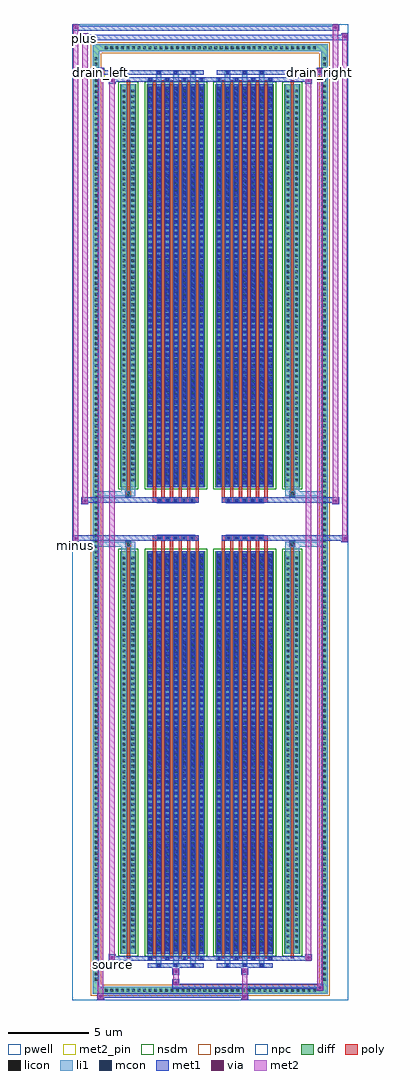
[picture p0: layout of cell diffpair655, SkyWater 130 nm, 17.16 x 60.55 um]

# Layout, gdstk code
import gdstk
lib = gdstk.Library(unit=1e-6, precision=5e-09)
def R(c, l, rs):  # rectangles x0, y0, x1, y1
    for r in rs: c.add(gdstk.rectangle(r[:2], r[2:], *l))
def A(c, l, x, y, w, h, nx, ny, dx, dy):  # array of equal rectangles
    R(c, l, [(x+i*dx, y+j*dy, x+i*dx+w, y+j*dy+h) for i in range(nx) for j in range(ny)])
def P(c, l, *ps):  # polygons
    for p in ps: c.add(gdstk.Polygon(p, *l))
pwell = (64, 44)
diff = (65, 20)
poly = (66, 20)
licon = (66, 44)
li1 = (67, 20)
mcon = (67, 44)
met1 = (68, 20)
via = (68, 44)
met2_pin = (69, 16)
met2 = (69, 20)
nsdm = (93, 44)
psdm = (94, 20)
npc = (95, 20)

diffpair655 = lib.new_cell('diffpair655')
R(diffpair655, pwell, [(-8.56,-29.84,8.56,30.71), (-5.88,-28.03,-0.01,-0.805), (0.01,-28.03,5.88,-0.805), (-5.88,0.805,-0.01,28.03), (0.01,0.805,5.88,28.03)])
A(diffpair655, diff, -6.665, -29.44, 0.41, 0.41, 39, 2, 0.34, 58.47)
A(diffpair655, diff, -7.29, -28.765, 0.41, 0.41, 1, 169, 0, 0.34)
A(diffpair655, diff, 6.88, -28.765, 0.41, 0.41, 1, 169, 0, 0.34)
R(diffpair655, diff, [(-6.665,-29.44,6.665,-29.03), (-7.29,-28.765,-6.88,28.765), (6.88,-28.765,7.29,28.765), (-5.57,-26.985,-4.59,-1.985), (-3.95,-26.985,-0.32,-1.985), (0.32,-26.985,3.95,-1.985), (4.59,-26.985,5.57,-1.985), (-5.57,1.985,-4.59,26.985), (-3.95,1.985,-0.32,26.985), (0.32,1.985,3.95,26.985), (4.59,1.985,5.57,26.985), (-6.665,29.03,6.665,29.44)])
P(diffpair655, diff, [(7.29,29.44),(-7.29,29.44),(-7.29,-29.03),(-6.88,-29.03),(-6.88,29.03),(6.88,29.03),(6.88,-29.03),(-6.88,-29.03),(-7.29,-29.03),(-7.29,-29.44),(7.29,-29.44)])
A(diffpair655, poly, -3.56, -27.235, 0.2, 25.5, 6, 2, 0.53, 28.97)
A(diffpair655, poly, 0.71, -27.235, 0.2, 25.5, 6, 2, 0.53, 28.97)
A(diffpair655, poly, -3.56, -1.735, 0.2, 0.4, 6, 2, 0.53, 3.07)
A(diffpair655, poly, 0.71, -1.735, 0.2, 0.4, 6, 2, 0.53, 3.07)
A(diffpair655, poly, -3.3, -1.335, 0.33, 0.33, 5, 2, 0.5, 2.34)
A(diffpair655, poly, 0.97, -1.335, 0.33, 0.33, 5, 2, 0.5, 2.34)
R(diffpair655, poly, [(-5.18,-27.235,-4.98,-1.735), (4.98,-27.235,5.18,-1.735), (-5.245,-1.735,-4.915,-1.405), (-5.245,-1.735,-4.915,-1.405), (4.915,-1.735,5.245,-1.405), (4.915,-1.735,5.245,-1.405), (-3.56,-1.335,-0.71,-1.005), (0.71,-1.335,3.56,-1.005), (-3.56,1.005,-0.71,1.335), (0.71,1.005,3.56,1.335), (-5.245,1.405,-4.915,1.735), (-5.245,1.405,-4.915,1.735), (4.915,1.405,5.245,1.735), (4.915,1.405,5.245,1.735), (-5.18,1.735,-4.98,27.235), (4.98,1.735,5.18,27.235)])
A(diffpair655, licon, -6.545, -29.32, 0.17, 0.17, 39, 2, 0.34, 58.47)
A(diffpair655, licon, -7.17, -28.645, 0.17, 0.17, 1, 169, 0, 0.34)
A(diffpair655, licon, 7, -28.645, 0.17, 0.17, 1, 169, 0, 0.34)
A(diffpair655, licon, -5.43, -26.64, 0.17, 0.17, 1, 72, 0, 0.34)
A(diffpair655, licon, -4.9, -26.64, 0.17, 0.17, 1, 72, 0, 0.34)
A(diffpair655, licon, -3.81, -26.64, 0.17, 0.17, 7, 72, 0.53, 0.34)
A(diffpair655, licon, 0.46, -26.64, 0.17, 0.17, 7, 72, 0.53, 0.34)
A(diffpair655, licon, 4.73, -26.64, 0.17, 0.17, 1, 72, 0, 0.34)
A(diffpair655, licon, 5.26, -26.64, 0.17, 0.17, 1, 72, 0, 0.34)
A(diffpair655, licon, -3.22, -1.255, 0.17, 0.17, 5, 2, 0.5, 2.34)
A(diffpair655, licon, 1.05, -1.255, 0.17, 0.17, 5, 2, 0.5, 2.34)
A(diffpair655, licon, -5.43, 2.33, 0.17, 0.17, 1, 72, 0, 0.34)
A(diffpair655, licon, -4.9, 2.33, 0.17, 0.17, 1, 72, 0, 0.34)
A(diffpair655, licon, -3.81, 2.33, 0.17, 0.17, 7, 72, 0.53, 0.34)
A(diffpair655, licon, 0.46, 2.33, 0.17, 0.17, 7, 72, 0.53, 0.34)
A(diffpair655, licon, 4.73, 2.33, 0.17, 0.17, 1, 72, 0, 0.34)
A(diffpair655, licon, 5.26, 2.33, 0.17, 0.17, 1, 72, 0, 0.34)
R(diffpair655, licon, [(-5.165,-1.655,-4.995,-1.485), (4.995,-1.655,5.165,-1.485), (-5.165,1.485,-4.995,1.655), (4.995,1.485,5.165,1.655)])
A(diffpair655, li1, -6.625, -29.4, 0.33, 0.33, 39, 2, 0.34, 58.47)
A(diffpair655, li1, -7.25, -28.725, 0.33, 0.33, 1, 169, 0, 0.34)
A(diffpair655, li1, 6.92, -28.725, 0.33, 0.33, 1, 169, 0, 0.34)
A(diffpair655, li1, -3.36, -27.79, 0.33, 0.805, 3, 2, 1.06, 54.775)
A(diffpair655, li1, -3.28, -27.79, 0.17, 0.17, 3, 2, 1.06, 55.41)
A(diffpair655, li1, 0.91, -27.79, 0.33, 0.805, 3, 2, 1.06, 54.775)
A(diffpair655, li1, 0.99, -27.79, 0.17, 0.17, 3, 2, 1.06, 55.41)
A(diffpair655, li1, -3.89, -27.36, 0.33, 0.375, 4, 2, 1.06, 54.345)
A(diffpair655, li1, -3.81, -27.36, 0.17, 0.17, 4, 2, 1.06, 54.55)
A(diffpair655, li1, 0.38, -27.36, 0.33, 0.375, 4, 2, 1.06, 54.345)
A(diffpair655, li1, 0.46, -27.36, 0.17, 0.17, 4, 2, 1.06, 54.55)
A(diffpair655, li1, -3.89, -26.985, 0.33, 25, 7, 2, 0.53, 28.97)
A(diffpair655, li1, 0.38, -26.985, 0.33, 25, 7, 2, 0.53, 28.97)
A(diffpair655, li1, -3.81, -26.81, 0.17, 0.17, 7, 69, 0.53, 0.36)
A(diffpair655, li1, -3.81, -26.81, 0.17, 24.65, 7, 2, 0.53, 28.97)
A(diffpair655, li1, 0.46, -26.81, 0.17, 0.17, 7, 69, 0.53, 0.36)
A(diffpair655, li1, 0.46, -26.81, 0.17, 24.65, 7, 2, 0.53, 28.97)
A(diffpair655, li1, -5.51, -26.72, 0.33, 0.33, 1, 72, 0, 0.34)
A(diffpair655, li1, -4.98, -26.72, 0.33, 0.33, 1, 72, 0, 0.34)
A(diffpair655, li1, -3.89, -26.72, 0.33, 0.33, 7, 72, 0.53, 0.34)
A(diffpair655, li1, 0.38, -26.72, 0.33, 0.33, 7, 72, 0.53, 0.34)
A(diffpair655, li1, 4.65, -26.72, 0.33, 0.33, 1, 72, 0, 0.34)
A(diffpair655, li1, 5.18, -26.72, 0.33, 0.33, 1, 72, 0, 0.34)
A(diffpair655, li1, -3.3, -1.335, 0.33, 0.33, 5, 2, 0.5, 2.34)
A(diffpair655, li1, 0.97, -1.335, 0.33, 0.33, 5, 2, 0.5, 2.34)
A(diffpair655, li1, -3.81, 2.16, 0.17, 0.17, 7, 69, 0.53, 0.36)
A(diffpair655, li1, 0.46, 2.16, 0.17, 0.17, 7, 69, 0.53, 0.36)
A(diffpair655, li1, -5.51, 2.25, 0.33, 0.33, 1, 72, 0, 0.34)
A(diffpair655, li1, -4.98, 2.25, 0.33, 0.33, 1, 72, 0, 0.34)
A(diffpair655, li1, -3.89, 2.25, 0.33, 0.33, 7, 72, 0.53, 0.34)
A(diffpair655, li1, 0.38, 2.25, 0.33, 0.33, 7, 72, 0.53, 0.34)
A(diffpair655, li1, 4.65, 2.25, 0.33, 0.33, 1, 72, 0, 0.34)
A(diffpair655, li1, 5.18, 2.25, 0.33, 0.33, 1, 72, 0, 0.34)
R(diffpair655, li1, [(-7.29,-29.44,-6.88,-29.03), (-7.29,-29.44,-6.88,-29.03), (-6.88,-29.44,6.88,-29.03), (6.88,-29.44,7.29,-29.03), (6.88,-29.44,7.29,-29.03), (-7.29,-29.03,-6.88,29.03), (6.88,-29.03,7.29,29.03), (-5.51,-26.985,-5.18,-1.985), (-4.98,-26.985,-4.65,-1.985), (4.65,-26.985,4.98,-1.985), (5.18,-26.985,5.51,-1.985), (-5.51,-1.985,-5.18,-1.405), (-4.98,-1.985,-4.65,-1.405), (4.65,-1.985,4.98,-1.405), (5.18,-1.985,5.51,-1.405), (-7.29,-1.735,-5.245,-1.405), (-5.51,-1.735,-5.245,-1.405), (-5.245,-1.735,-4.915,-1.405), (-4.915,-1.735,-4.65,-1.405), (4.65,-1.735,4.915,-1.405), (4.915,-1.735,5.245,-1.405), (4.915,-1.735,7.29,-1.405), (5.245,-1.735,5.51,-1.405), (-7.29,1.405,-5.245,1.735), (-5.51,1.405,-5.245,1.735), (-5.51,1.405,-5.18,1.985), (-5.245,1.405,-4.915,1.735), (-4.98,1.405,-4.65,1.985), (-4.915,1.405,-4.65,1.735), (4.65,1.405,4.915,1.735), (4.65,1.405,4.98,1.985), (4.915,1.405,5.245,1.735), (4.915,1.405,7.29,1.735), (5.18,1.405,5.51,1.985), (5.245,1.405,5.51,1.735), (-5.51,1.985,-5.18,26.985), (-4.98,1.985,-4.65,26.985), (4.65,1.985,4.98,26.985), (5.18,1.985,5.51,26.985), (-7.29,29.03,-6.88,29.44), (-7.29,29.03,-6.88,29.44), (-6.88,29.03,6.88,29.44), (6.88,29.03,7.29,29.44), (6.88,29.03,7.29,29.44)])
A(diffpair655, mcon, -3.28, -27.79, 0.17, 0.17, 3, 2, 1.06, 55.41)
A(diffpair655, mcon, 0.99, -27.79, 0.17, 0.17, 3, 2, 1.06, 55.41)
A(diffpair655, mcon, -3.81, -27.36, 0.17, 0.17, 4, 2, 1.06, 54.55)
A(diffpair655, mcon, 0.46, -27.36, 0.17, 0.17, 4, 2, 1.06, 54.55)
A(diffpair655, mcon, -3.81, -26.81, 0.17, 0.17, 7, 69, 0.53, 0.36)
A(diffpair655, mcon, 0.46, -26.81, 0.17, 0.17, 7, 69, 0.53, 0.36)
A(diffpair655, mcon, -3.22, -1.255, 0.17, 0.17, 5, 2, 0.5, 2.34)
A(diffpair655, mcon, 1.05, -1.255, 0.17, 0.17, 5, 2, 0.5, 2.34)
A(diffpair655, mcon, -3.81, 2.16, 0.17, 0.17, 7, 69, 0.53, 0.36)
A(diffpair655, mcon, 0.46, 2.16, 0.17, 0.17, 7, 69, 0.53, 0.36)
A(diffpair655, met1, -3.34, -27.85, 0.29, 0.29, 3, 2, 1.06, 55.41)
A(diffpair655, met1, 0.93, -27.85, 0.29, 0.29, 3, 2, 1.06, 55.41)
A(diffpair655, met1, -3.87, -27.42, 0.29, 0.29, 4, 2, 1.06, 54.55)
A(diffpair655, met1, 0.4, -27.42, 0.29, 0.29, 4, 2, 1.06, 54.55)
A(diffpair655, met1, -3.87, -26.985, 0.29, 25, 7, 2, 0.53, 28.97)
A(diffpair655, met1, 0.4, -26.985, 0.29, 25, 7, 2, 0.53, 28.97)
A(diffpair655, met1, -3.87, -26.87, 0.29, 0.29, 7, 69, 0.53, 0.36)
A(diffpair655, met1, 0.4, -26.87, 0.29, 0.29, 7, 69, 0.53, 0.36)
A(diffpair655, met1, -3.28, -1.315, 0.29, 0.29, 5, 2, 0.5, 2.34)
A(diffpair655, met1, 0.99, -1.315, 0.29, 0.29, 5, 2, 0.5, 2.34)
A(diffpair655, met1, -3.87, 2.1, 0.29, 0.29, 7, 69, 0.53, 0.36)
A(diffpair655, met1, 0.4, 2.1, 0.29, 0.29, 7, 69, 0.53, 0.36)
R(diffpair655, met1, [(-7.02,-29.84,-6.59,-29.41), (1.92,-29.84,2.35,-29.41), (-7.02,-29.7,2.35,-29.41), (6.59,-29.27,7.02,-28.84), (-2.35,-29.13,7.02,-28.84), (-2.35,-28.99,-1.92,-28.56), (-2.35,-28.28,-1.92,-27.85), (1.92,-28.28,2.35,-27.85), (-3.87,-27.85,-0.4,-27.56), (0.4,-27.85,3.87,-27.56), (-6.31,-27.42,-5.88,-26.99), (-6.31,-27.42,-3.87,-27.13), (-3.87,-27.42,-0.4,-27.13), (-0.4,-27.42,0.4,-27.13), (0.4,-27.42,3.87,-27.13), (3.87,-27.42,6.31,-27.13), (5.88,-27.42,6.31,-26.99), (-8.56,-1.435,-8.13,-1.005), (8.13,-1.435,8.56,-1.005), (-8.56,-1.335,-0.71,-1.005), (-3.56,-1.335,-0.71,-1.005), (0.71,-1.335,3.56,-1.005), (0.71,-1.335,8.56,-1.005), (-7.99,0.905,-7.56,1.335), (7.56,0.905,7.99,1.335), (-7.99,1.005,-3.56,1.335), (-3.56,1.005,-0.71,1.335), (0.71,1.005,3.56,1.335), (3.56,1.005,7.99,1.335), (-6.31,26.99,-5.88,27.42), (5.88,26.99,6.31,27.42), (-6.31,27.13,-3.87,27.42), (-3.87,27.13,-0.4,27.42), (-0.4,27.13,0.4,27.42), (0.4,27.13,3.87,27.42), (3.87,27.13,6.31,27.42), (-7.02,27.56,-6.59,27.99), (-7.02,27.56,-3.87,27.85), (-3.87,27.56,-0.4,27.85), (0.4,27.56,3.87,27.85), (3.87,27.56,7.02,27.85), (6.59,27.56,7.02,27.99), (-7.99,29.71,-7.56,30.14), (-7.99,29.71,-5.88,30.04), (-5.88,29.71,5.88,30.04), (5.88,29.71,8.56,30.04), (8.13,29.71,8.56,30.14), (-8.56,30.28,-8.13,30.71), (-8.56,30.28,-5.88,30.61), (-5.88,30.28,5.88,30.61), (5.88,30.28,7.99,30.61), (7.56,30.28,7.99,30.71)])
R(diffpair655, via, [(-6.88,-29.7,-6.73,-29.55), (2.06,-29.7,2.21,-29.55), (6.73,-29.13,6.88,-28.98), (-2.21,-28.85,-2.06,-28.7), (-2.21,-28.14,-2.06,-27.99), (2.06,-28.14,2.21,-27.99), (-6.17,-27.28,-6.02,-27.13), (6.02,-27.28,6.17,-27.13), (-8.42,-1.295,-8.27,-1.145), (8.27,-1.295,8.42,-1.145), (-7.85,1.045,-7.7,1.195), (7.7,1.045,7.85,1.195), (-6.17,27.13,-6.02,27.28), (6.02,27.13,6.17,27.28), (-6.88,27.7,-6.73,27.85), (6.73,27.7,6.88,27.85), (-7.85,29.85,-7.7,30), (8.27,29.85,8.42,30), (-8.42,30.42,-8.27,30.57), (7.7,30.42,7.85,30.57)])
R(diffpair655, met2_pin, [(-6.345,-27.87,-5.845,-27.37), (-8.595,-1.885,-8.095,-1.385), (-7.055,27.44,-6.555,27.94), (6.555,27.44,7.055,27.94), (-8.025,29.59,-7.525,30.09)])
R(diffpair655, met2, [(-6.97,-29.79,-6.64,-29.46), (-6.97,-29.79,-6.64,27.94), (1.97,-29.79,2.3,-29.46), (1.97,-29.46,2.3,-28.23), (6.64,-29.22,6.97,-28.89), (6.64,-29.22,6.97,27.94), (-2.3,-28.94,-1.97,-28.61), (-2.3,-28.61,-1.97,-28.23), (-2.3,-28.23,-1.97,-27.9), (1.97,-28.23,2.3,-27.9), (-6.26,-27.37,-5.93,-27.04), (-6.26,-27.37,-5.93,27.37), (5.93,-27.37,6.26,-27.04), (5.93,-27.37,6.26,27.37), (-8.51,-1.385,-8.18,-1.055), (-8.51,-1.385,-8.18,30.66), (8.18,-1.385,8.51,-1.055), (8.18,-1.385,8.51,30.09), (-7.94,0.955,-7.61,1.285), (-7.94,0.955,-7.61,30.09), (7.61,0.955,7.94,1.285), (7.61,0.955,7.94,30.66), (-6.26,27.04,-5.93,27.37), (5.93,27.04,6.26,27.37), (-6.97,27.61,-6.64,27.94), (6.64,27.61,6.97,27.94), (-7.94,29.76,-7.61,30.09), (8.18,29.76,8.51,30.09), (-8.51,30.33,-8.18,30.66), (7.61,30.33,7.94,30.66)])
P(diffpair655, met2, [(8.51,-1.385),(8.51,-1.385),(8.51,-1.055),(8.51,-1.055)],
  [(8.51,29.76),(8.51,29.76),(8.51,30.09),(8.51,30.09)],
  [(-8.18,-1.385),(-8.18,-1.385),(-8.18,-1.055),(-8.18,-1.055)],
  [(-8.18,30.33),(-8.18,30.33),(-8.18,30.66),(-8.18,30.66)],
  [(7.94,0.955),(7.94,0.955),(7.94,1.285),(7.94,1.285)],
  [(7.94,30.33),(7.94,30.33),(7.94,30.66),(7.94,30.66)],
  [(-7.61,0.955),(-7.61,0.955),(-7.61,1.285),(-7.61,1.285)],
  [(-7.61,29.76),(-7.61,29.76),(-7.61,30.09),(-7.61,30.09)],
  [(-6.64,-29.79),(-6.64,-29.79),(-6.64,-29.46),(-6.64,-29.46)],
  [(-6.64,27.61),(-6.64,27.61),(-6.64,27.94),(-6.64,27.94)],
  [(6.97,-29.22),(6.97,-29.22),(6.97,-28.89),(6.97,-28.89)],
  [(6.97,27.61),(6.97,27.61),(6.97,27.94),(6.97,27.94)],
  [(-5.93,-27.37),(-5.93,-27.37),(-5.93,-27.04),(-5.93,-27.04)],
  [(-5.93,27.04),(-5.93,27.04),(-5.93,27.37),(-5.93,27.37)],
  [(6.26,-27.37),(6.26,-27.37),(6.26,-27.04),(6.26,-27.04)],
  [(6.26,27.04),(6.26,27.04),(6.26,27.37),(6.26,27.37)])
R(diffpair655, nsdm, [(-5.7,-27.115,-4.46,-1.855), (-4.08,-27.115,-0.19,-1.855), (0.19,-27.115,4.08,-1.855), (4.46,-27.115,5.7,-1.855), (-5.7,1.855,-4.46,27.115), (-4.08,1.855,-0.19,27.115), (0.19,1.855,4.08,27.115), (4.46,1.855,5.7,27.115)])
P(diffpair655, psdm, [(7.42,29.57),(-7.42,29.57),(-7.42,-28.9),(-6.75,-28.9),(-6.75,28.9),(6.75,28.9),(6.75,-28.9),(-6.75,-28.9),(-7.42,-28.9),(-7.42,-29.57),(7.42,-29.57)])
A(diffpair655, npc, -3.32, -1.355, 0.37, 0.37, 5, 2, 0.5, 2.34)
A(diffpair655, npc, 0.95, -1.355, 0.37, 0.37, 5, 2, 0.5, 2.34)
R(diffpair655, npc, [(-5.265,-1.755,-4.895,-1.385), (4.895,-1.755,5.265,-1.385), (-3.32,-1.355,-2.45,-0.985), (-3.32,-1.355,-2.45,-0.985), (-2.82,-1.355,-1.95,-0.985), (-2.82,-1.355,-1.95,-0.985), (-2.32,-1.355,-1.45,-0.985), (-2.32,-1.355,-1.45,-0.985), (-1.82,-1.355,-0.95,-0.985), (-1.82,-1.355,-0.95,-0.985), (0.95,-1.355,1.82,-0.985), (0.95,-1.355,1.82,-0.985), (1.45,-1.355,2.32,-0.985), (1.45,-1.355,2.32,-0.985), (1.95,-1.355,2.82,-0.985), (1.95,-1.355,2.82,-0.985), (2.45,-1.355,3.32,-0.985), (2.45,-1.355,3.32,-0.985), (-3.32,0.985,-2.45,1.355), (-3.32,0.985,-2.45,1.355), (-2.82,0.985,-1.95,1.355), (-2.82,0.985,-1.95,1.355), (-2.32,0.985,-1.45,1.355), (-2.32,0.985,-1.45,1.355), (-1.82,0.985,-0.95,1.355), (-1.82,0.985,-0.95,1.355), (0.95,0.985,1.82,1.355), (0.95,0.985,1.82,1.355), (1.45,0.985,2.32,1.355), (1.45,0.985,2.32,1.355), (1.95,0.985,2.82,1.355), (1.95,0.985,2.82,1.355), (2.45,0.985,3.32,1.355), (2.45,0.985,3.32,1.355), (-5.265,1.385,-4.895,1.755), (4.895,1.385,5.265,1.755)])
diffpair655.add(gdstk.Label('minus', (-8.345,-1.635), layer=69, texttype=5))
diffpair655.add(gdstk.Label('drain_right', (6.805,27.69), layer=69, texttype=5))
diffpair655.add(gdstk.Label('drain_left', (-6.805,27.69), layer=69, texttype=5))
diffpair655.add(gdstk.Label('source', (-6.095,-27.62), layer=69, texttype=5))
diffpair655.add(gdstk.Label('plus', (-7.775,29.84), layer=69, texttype=5))

lib.write_gds('diffpair655.gds')
